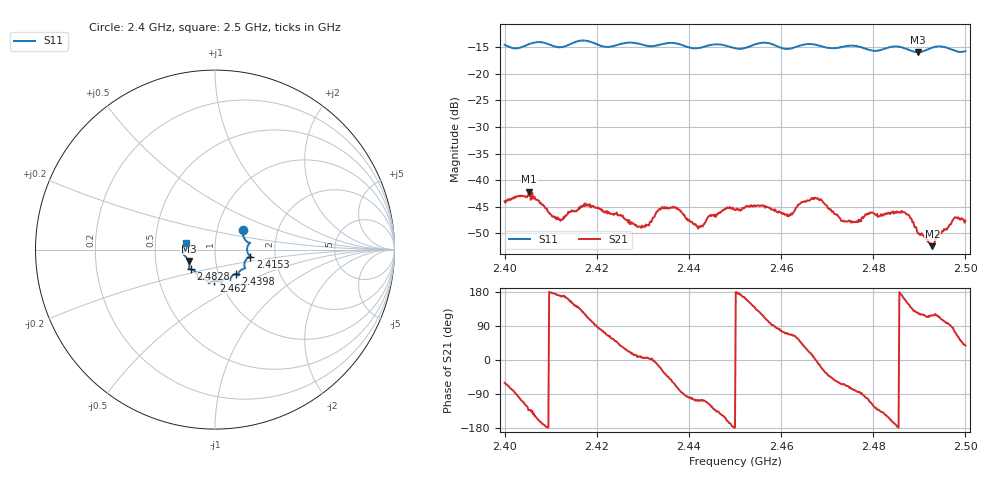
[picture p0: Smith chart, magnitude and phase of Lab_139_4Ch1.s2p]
# Hz S RI R 50
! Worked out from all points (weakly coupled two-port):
!   601 points, 2.4 GHz to 2.5 GHz, reference 50 ohm
!   highest |S21| = -42.16 dB at 2.4053 GHz (marker M1); lowest = -52.5 dB at 2.4928 GHz (marker M2)
!   lowest |S11| = -15.9 dB at 2.4897 GHz (marker M3), VSWR 1.38, Z = 36.9 - j4.82 ohm
!   |S11| at or under -10 dB: start of sweep to end of sweep
!   S12 and S22 are empty: the file has one direction only
!   S11 on the Smith chart (normalised r, x): 2.4 GHz: 1.33, +0.29; 2.4153 GHz: 1.48, -0.12; 2.4398 GHz: 1.21, -0.34; 2.462 GHz: 0.93, -0.33; 2.4828 GHz: 0.74, -0.17; 2.5 GHz: 0.72, +0.06
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2.4e9  0.1551 0.1065  0.00314 -0.00547  0 0  0 0
2.405333e9  0.1875 0.0394  -0.00523 -0.00579  0 0  0 0
2.411667e9  0.1786 0.00486  -0.00427 0.000641  0 0  0 0
2.415333e9  0.1964 -0.0385  -0.00412 0.00293  0 0  0 0
2.416667e9  0.2021 -0.0424  -0.00373 0.00428  0 0  0 0
2.429167e9  0.1604 -0.1065  0.00362 0.000603  0 0  0 0
2.433333e9  0.1308 -0.1337  0.00503 -0.00124  0 0  0 0
2.437e9  0.1322 -0.1436  0.00231 -0.00508  0 0  0 0
2.439833e9  0.1155 -0.1365  -0.000514 -0.00411  0 0  0 0
2.4425e9  0.0919 -0.1507  -0.00102 -0.00347  0 0  0 0
2.45e9  0.0648 -0.1624  -0.00525 -0.000125  0 0  0 0
2.455833e9  0.0381 -0.1929  -0.00275 0.00501  0 0  0 0
2.462e9  -0.00506 -0.1733  0.00185 0.00429  0 0  0 0
2.466667e9  -0.0345 -0.188  0.00658 0.00156  0 0  0 0
2.4735e9  -0.0843 -0.1601  0.00187 -0.00368  0 0  0 0
2.482833e9  -0.1363 -0.1095  -0.00394 -0.00267  0 0  0 0
2.483333e9  -0.1401 -0.1092  -0.00429 -0.00226  0 0  0 0
2.487167e9  -0.1433 -0.0958  -0.0043 0.00208  0 0  0 0
2.489667e9  -0.1471 -0.0636  -0.00182 0.0026  0 0  0 0
2.492833e9  -0.1749 -0.0283  -0.00111 0.00211  0 0  0 0
2.497667e9  -0.1656 0.000621  0.00119 0.00429  0 0  0 0
2.5e9  -0.1596 0.0388  0.00325 0.00255  0 0  0 0
